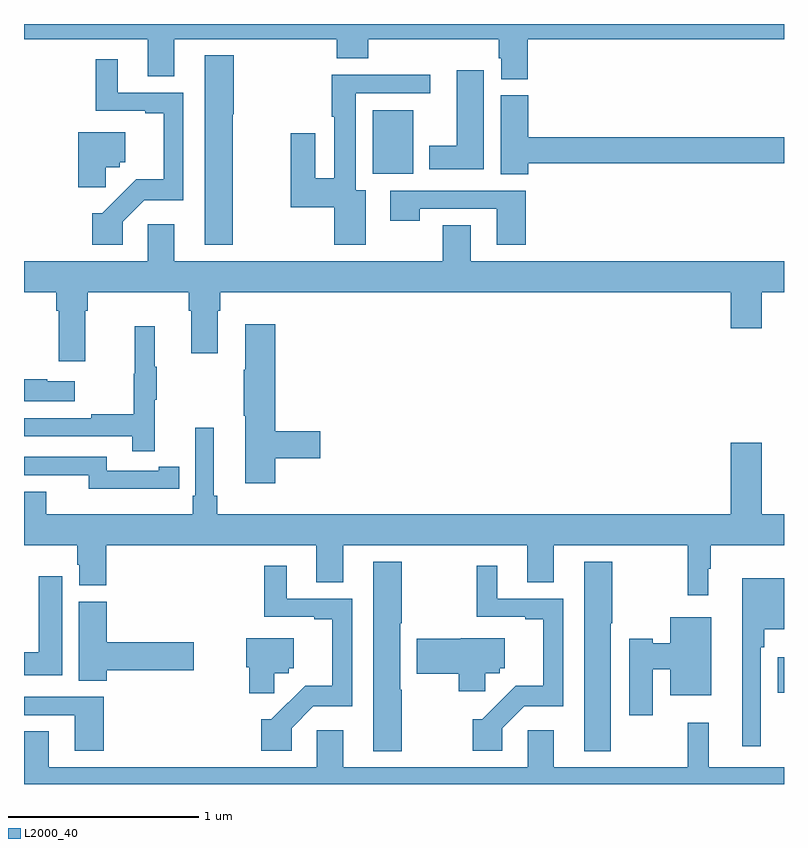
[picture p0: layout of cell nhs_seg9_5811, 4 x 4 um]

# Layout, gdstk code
import gdstk
lib = gdstk.Library(unit=1e-6, precision=1e-09)
def R(c, l, rs):  # rectangles x0, y0, x1, y1
    for r in rs: c.add(gdstk.rectangle(r[:2], r[2:], *l))
def P(c, l, *ps):  # polygons
    for p in ps: c.add(gdstk.Polygon(p, *l))
L2000_40 = (2000, 40)

nhs_seg9_5811 = lib.new_cell('nhs_seg9_5811')
R(nhs_seg9_5811, L2000_40, [(452.966,1192.979,453,1193.167), (450.836,1195.712,451.048,1196.047)])
P(nhs_seg9_5811, L2000_40, [(449,1196.42),(449.651,1196.42),(449.651,1196.226),(449.791,1196.226),(449.791,1196.42),(450.647,1196.42),(450.647,1196.321),(450.812,1196.321),(450.812,1196.42),(451.499,1196.42),(451.499,1196.319),(451.511,1196.319),(451.511,1196.209),(451.652,1196.209),(451.652,1196.42),(453,1196.42),(453,1196.5),(449,1196.5)],
  [(450.099,1196.025),(450.104,1196.025),(450.104,1196.335),(449.951,1196.335),(449.951,1195.337),(450.099,1195.337)],
  [(449.52,1195.458),(449.634,1195.572),(449.839,1195.572),(449.839,1196.139),(449.494,1196.139),(449.494,1196.314),(449.377,1196.314),(449.377,1196.043),(449.639,1196.043),(449.639,1196.031),(449.735,1196.031),(449.735,1195.682),(449.591,1195.682),(449.413,1195.504),(449.36,1195.504),(449.36,1195.338),(449.52,1195.338)],
  [(451.42,1196.257),(451.277,1196.257),(451.277,1195.858),(451.133,1195.858),(451.133,1195.736),(451.42,1195.736)],
  [(450.799,1195.624),(450.745,1195.624),(450.745,1196.136),(451.138,1196.136),(451.138,1196.234),(450.62,1196.234),(450.62,1196.011),(450.632,1196.011),(450.632,1195.688),(450.532,1195.688),(450.532,1195.924),(450.403,1195.924),(450.403,1195.535),(450.632,1195.535),(450.632,1195.338),(450.799,1195.338)],
  [(451.655,1195.768),(453,1195.768),(453,1195.904),(451.655,1195.904),(451.655,1196.124),(451.508,1196.124),(451.508,1195.708),(451.655,1195.708)],
  [(449.429,1195.746),(449.505,1195.746),(449.505,1195.773),(449.533,1195.773),(449.533,1195.93),(449.285,1195.93),(449.285,1195.641),(449.429,1195.641)],
  [(451.64,1195.623),(450.927,1195.623),(450.927,1195.464),(451.083,1195.464),(451.083,1195.527),(451.487,1195.527),(451.487,1195.338),(451.64,1195.338)],
  [(449,1195.088),(449.171,1195.088),(449.171,1194.992),(449.183,1194.992),(449.183,1194.726),(449.323,1194.726),(449.323,1194.992),(449.336,1194.992),(449.336,1195.088),(449.867,1195.088),(449.867,1194.992),(449.879,1194.992),(449.879,1194.768),(450.019,1194.768),(450.019,1194.992),(450.032,1194.992),(450.032,1195.088),(452.72,1195.088),(452.72,1194.9),(452.884,1194.9),(452.884,1195.088),(453,1195.088),(453,1195.252),(451.351,1195.252),(451.351,1195.442),(451.204,1195.442),(451.204,1195.252),(449.791,1195.252),(449.791,1195.447),(449.652,1195.447),(449.652,1195.252),(449,1195.252)],
  [(450.323,1194.214),(450.559,1194.214),(450.559,1194.356),(450.323,1194.356),(450.323,1194.919),(450.164,1194.919),(450.164,1194.68),(450.157,1194.68),(450.157,1194.439),(450.164,1194.439),(450.164,1194.084),(450.323,1194.084)],
  [(449.687,1194.523),(449.698,1194.523),(449.698,1194.697),(449.687,1194.697),(449.687,1194.91),(449.584,1194.91),(449.584,1194.66),(449.577,1194.66),(449.577,1194.446),(449.353,1194.446),(449.353,1194.426),(449,1194.426),(449,1194.33),(449.569,1194.33),(449.569,1194.252),(449.687,1194.252)],
  [(449.266,1194.619),(449.123,1194.619),(449.123,1194.629),(449,1194.629),(449,1194.515),(449.266,1194.515)],
  [(452.602,1193.633),(452.614,1193.633),(452.614,1193.756),(453,1193.756),(453,1193.92),(452.884,1193.92),(452.884,1194.295),(452.72,1194.295),(452.72,1193.92),(450.017,1193.92),(450.017,1194.016),(449.998,1194.016),(449.998,1194.376),(449.901,1194.376),(449.901,1194.016),(449.888,1194.016),(449.888,1193.92),(449.116,1193.92),(449.116,1194.037),(449,1194.037),(449,1193.756),(449.279,1193.756),(449.279,1193.655),(449.291,1193.655),(449.291,1193.545),(449.432,1193.545),(449.432,1193.756),(450.539,1193.756),(450.539,1193.562),(450.679,1193.562),(450.679,1193.756),(451.649,1193.756),(451.649,1193.562),(451.789,1193.562),(451.789,1193.756),(452.493,1193.756),(452.493,1193.493),(452.602,1193.493)],
  [(449.708,1194.054),(449.816,1194.054),(449.816,1194.17),(449.708,1194.17),(449.708,1194.15),(449.436,1194.15),(449.436,1194.222),(449,1194.222),(449,1194.126),(449.34,1194.126),(449.34,1194.053),(449.708,1194.053)],
  [(450.987,1192.997),(450.979,1192.997),(450.979,1193.347),(450.987,1193.347),(450.987,1193.671),(450.839,1193.671),(450.839,1192.673),(450.987,1192.673)],
  [(452.089,1193.347),(452.097,1193.347),(452.097,1193.671),(451.949,1193.671),(451.949,1192.673),(452.089,1192.673)],
  [(451.518,1192.794),(451.632,1192.908),(451.837,1192.908),(451.837,1193.475),(451.492,1193.475),(451.492,1193.65),(451.383,1193.65),(451.383,1193.379),(451.637,1193.379),(451.637,1193.367),(451.733,1193.367),(451.733,1193.018),(451.589,1193.018),(451.411,1192.84),(451.363,1192.84),(451.363,1192.674),(451.518,1192.674)],
  [(450.408,1192.794),(450.522,1192.908),(450.727,1192.908),(450.727,1193.475),(450.382,1193.475),(450.382,1193.65),(450.265,1193.65),(450.265,1193.379),(450.527,1193.379),(450.527,1193.367),(450.623,1193.367),(450.623,1193.018),(450.479,1193.018),(450.301,1192.84),(450.248,1192.84),(450.248,1192.674),(450.408,1192.674)],
  [(449.2,1193.593),(449.078,1193.593),(449.078,1193.194),(449,1193.194),(449,1193.072),(449.2,1193.072)],
  [(452.877,1193.219),(452.897,1193.219),(452.897,1193.315),(453,1193.315),(453,1193.584),(452.78,1193.584),(452.78,1192.698),(452.877,1192.698)],
  [(449.435,1193.099),(449.893,1193.099),(449.893,1193.246),(449.435,1193.246),(449.435,1193.46),(449.288,1193.46),(449.288,1193.044),(449.435,1193.044)],
  [(452.308,1193.104),(452.402,1193.104),(452.402,1192.967),(452.617,1192.967),(452.617,1193.377),(452.402,1193.377),(452.402,1193.24),(452.308,1193.24),(452.308,1193.264),(452.186,1193.264),(452.186,1192.863),(452.308,1192.863)],
  [(450.317,1193.082),(450.393,1193.082),(450.393,1193.109),(450.421,1193.109),(450.421,1193.266),(450.17,1193.266),(450.17,1193.115),(450.185,1193.115),(450.185,1192.977),(450.317,1192.977)],
  [(451.428,1193.082),(451.503,1193.082),(451.503,1193.109),(451.531,1193.109),(451.531,1193.266),(451.299,1193.266),(451.299,1193.264),(451.068,1193.264),(451.068,1193.081),(451.288,1193.081),(451.288,1192.988),(451.428,1192.988)],
  [(449.42,1192.959),(449,1192.959),(449,1192.863),(449.267,1192.863),(449.267,1192.674),(449.42,1192.674)],
  [(453,1192.588),(452.603,1192.588),(452.603,1192.822),(452.493,1192.822),(452.493,1192.588),(451.789,1192.588),(451.789,1192.783),(451.65,1192.783),(451.65,1192.588),(450.679,1192.588),(450.679,1192.783),(450.54,1192.783),(450.54,1192.588),(449.131,1192.588),(449.131,1192.778),(449,1192.778),(449,1192.5),(453,1192.5)])

lib.write_gds('nhs_seg9_5811.gds')
